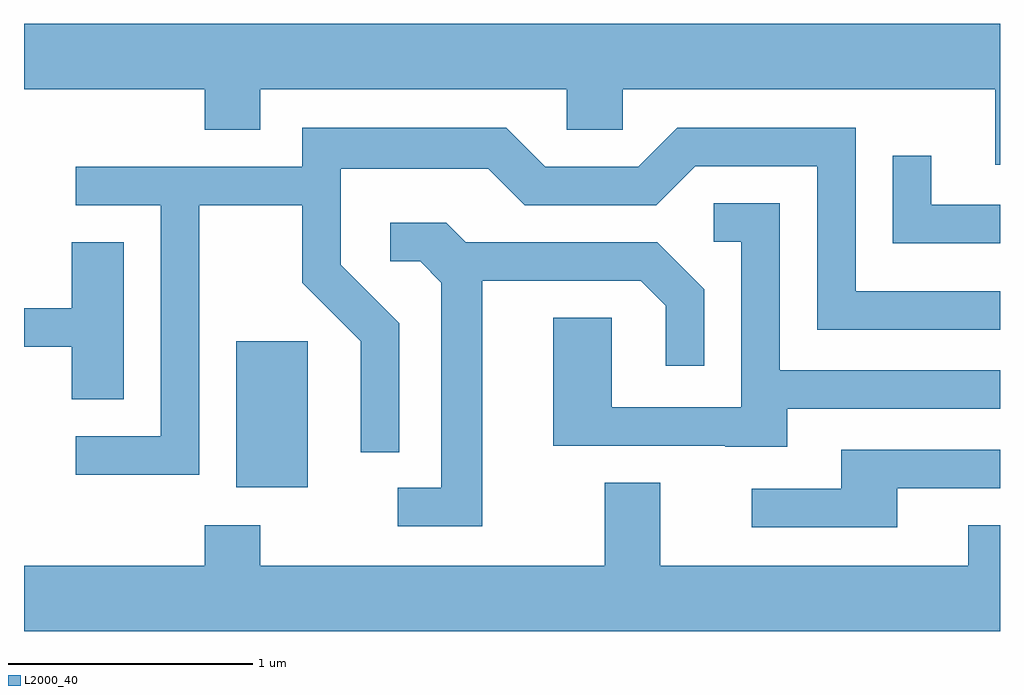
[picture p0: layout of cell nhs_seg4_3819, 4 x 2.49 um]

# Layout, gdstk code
import gdstk
lib = gdstk.Library(unit=1e-6, precision=1e-09)
def R(c, l, rs):  # rectangles x0, y0, x1, y1
    for r in rs: c.add(gdstk.rectangle(r[:2], r[2:], *l))
def P(c, l, *ps):  # polygons
    for p in ps: c.add(gdstk.Polygon(p, *l))
L2000_40 = (2000, 40)

nhs_seg4_3819 = lib.new_cell('nhs_seg4_3819')
R(nhs_seg4_3819, L2000_40, [(298.481,1277.566,298.774,1278.164)])
P(nhs_seg4_3819, L2000_40, [(301.611,1279.464),(297.611,1279.464),(297.611,1279.196),(298.351,1279.196),(298.351,1279.031),(298.579,1279.031),(298.579,1279.196),(299.836,1279.196),(299.836,1279.031),(300.064,1279.031),(300.064,1279.196),(301.591,1279.196),(301.591,1278.886),(301.611,1278.886)],
  [(298.329,1278.721),(298.751,1278.721),(298.751,1278.404),(298.991,1278.164),(298.991,1277.708),(299.149,1277.708),(299.149,1278.237),(298.909,1278.477),(298.909,1278.871),(299.514,1278.871),(299.664,1278.721),(300.202,1278.721),(300.362,1278.881),(300.861,1278.881),(300.861,1278.211),(301.611,1278.211),(301.611,1278.369),(301.019,1278.369),(301.019,1279.039),(300.289,1279.039),(300.129,1278.879),(299.747,1278.879),(299.587,1279.039),(298.751,1279.039),(298.751,1278.879),(297.823,1278.879),(297.823,1278.721),(298.171,1278.721),(298.171,1277.774),(297.823,1277.774),(297.823,1277.616),(298.329,1277.616)],
  [(301.611,1278.724),(301.329,1278.724),(301.329,1278.923),(301.171,1278.923),(301.171,1278.566),(301.611,1278.566)],
  [(300.739,1277.886),(301.611,1277.886),(301.611,1278.044),(300.709,1278.044),(300.709,1278.729),(300.438,1278.729),(300.438,1278.571),(300.551,1278.571),(300.551,1277.894),(300.019,1277.894),(300.019,1278.259),(299.781,1278.259),(299.781,1277.736),(300.485,1277.736),(300.485,1277.731),(300.739,1277.731)],
  [(299.489,1278.411),(300.139,1278.411),(300.241,1278.309),(300.241,1278.063),(300.399,1278.063),(300.399,1278.377),(300.207,1278.569),(299.422,1278.569),(299.342,1278.649),(299.113,1278.649),(299.113,1278.491),(299.234,1278.491),(299.321,1278.404),(299.321,1277.564),(299.143,1277.564),(299.143,1277.406),(299.489,1277.406)],
  [(298.019,1278.569),(297.806,1278.569),(297.806,1278.299),(297.611,1278.299),(297.611,1278.141),(297.806,1278.141),(297.806,1277.926),(298.019,1277.926)],
  [(301.189,1277.561),(301.611,1277.561),(301.611,1277.719),(300.961,1277.719),(300.961,1277.559),(300.593,1277.559),(300.593,1277.401),(301.189,1277.401)],
  [(301.611,1277.409),(301.481,1277.409),(301.481,1277.244),(300.219,1277.244),(300.219,1277.584),(299.991,1277.584),(299.991,1277.244),(298.579,1277.244),(298.579,1277.409),(298.351,1277.409),(298.351,1277.244),(297.611,1277.244),(297.611,1276.976),(301.611,1276.976)])

lib.write_gds('nhs_seg4_3819.gds')
